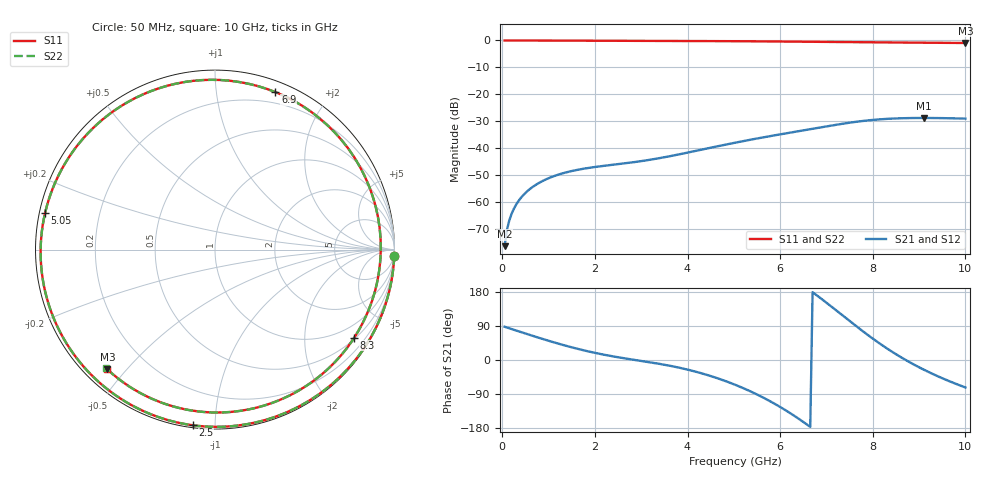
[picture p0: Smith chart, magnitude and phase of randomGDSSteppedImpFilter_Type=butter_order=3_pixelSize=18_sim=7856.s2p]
! freq	dB(S11)	phase(S11)	dB(S12)	phase(S12)
!  dB(S21)	phase(S21)	dB(S22)	phase(S22)
!S-par simulation data
#  GHz  S  DB  R 50
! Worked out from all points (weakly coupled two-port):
!   200 points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, 50 MHz to 10 GHz, reference 50 ohm
!   highest |S21| = -28.75 dB at 9.1 GHz (marker M1); lowest = -76.3 dB at 50 MHz (marker M2)
!   lowest |S11| = -0.9 dB at 10 GHz (marker M3), VSWR 18.41, Z = 3.25 - j22.2 ohm
!   |S11| at or under -10 dB: nowhere
!   |S22| runs from -0.9 to 0.0 dB; largest |S21 - S12| = 0
!   S11 on the Smith chart (normalised r, x): 50 MHz: 1, -55; 2.5 GHz: 0.01, -0.88; 5.05 GHz: 0.02, +0.11; 6.9 GHz: 0.10, +1.45; 8.3 GHz: 0.54, -3.38; 10 GHz: 0.07, -0.44
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0.05  -0.01 -2.1  -76.29 87.8  -76.29 87.8  -0.01 -2.1
0.1  -0.01 -4.1  -70.29 85.7  -70.29 85.7  -0.01 -4.1
0.2  -0.01 -8.2  -64.32 81.7  -64.32 81.7  -0.01 -8.2
0.5  -0.02 -20.4  -56.54 69.8  -56.54 69.8  -0.02 -20.4
1  -0.05 -40.4  -51.08 50.7  -51.08 50.7  -0.05 -40.4
1.75  -0.09 -69.4  -47.58 25.8  -47.58 25.8  -0.09 -69.4
2.5  -0.12 -97.2  -45.87 7.2  -45.87 7.2  -0.12 -97.3
3.4  -0.16 -129.6  -43.63 -10.3  -43.63 -10.3  -0.16 -129.7
4.3  -0.22 -162.5  -40.51 -35.0  -40.51 -35.0  -0.22 -162.7
5.05  -0.28 167.8  -37.84 -66.4  -37.84 -66.4  -0.28 167.5
5.85  -0.37 130.9  -35.28 -113.4  -35.28 -113.4  -0.37 130.4
6.3  -0.44 106.6  -33.94 -146.9  -33.94 -146.9  -0.44 105.9
6.7  -0.50 82.2  -32.76 179.0  -32.76 179.0  -0.51 81.3
6.9  -0.54 69.0  -32.17 160.6  -32.17 160.6  -0.54 68.1
7.25  -0.60 44.6  -31.16 127.1  -31.16 127.1  -0.60 43.5
7.65  -0.66 15.2  -30.14 88.6  -30.14 88.6  -0.66 14.0
7.95  -0.70 -7.0  -29.55 60.9  -29.55 60.9  -0.70 -8.3
8.3  -0.74 -32.3  -29.08 31.0  -29.08 31.0  -0.74 -33.5
8.35  -0.75 -35.8  -29.04 27.0  -29.04 27.0  -0.75 -37.0
8.7  -0.79 -59.4  -28.81 0.8  -28.81 0.8  -0.79 -60.6
9.1  -0.83 -84.1  -28.75 -25.4  -28.75 -25.4  -0.83 -85.2
10  -0.94 -132.0  -28.98 -72.5  -28.98 -72.5  -0.94 -132.8
